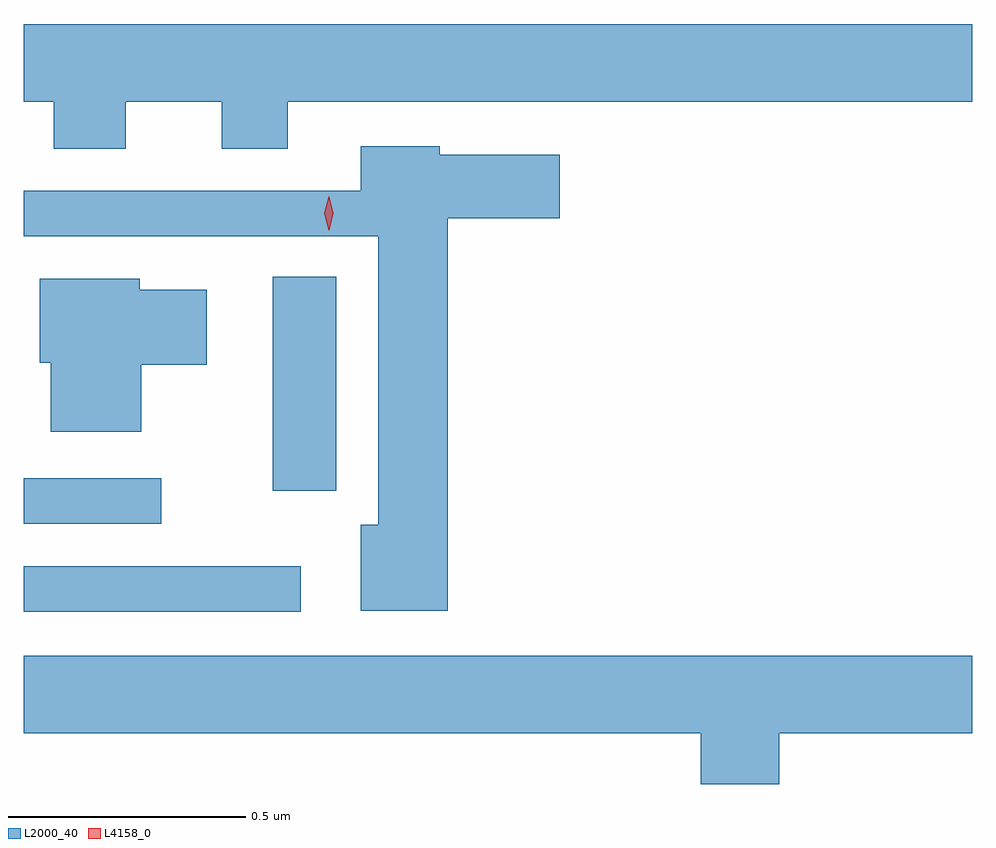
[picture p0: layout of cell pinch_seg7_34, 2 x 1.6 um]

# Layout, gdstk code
import gdstk
lib = gdstk.Library(unit=1e-6, precision=1e-09)
def R(c, l, rs):  # rectangles x0, y0, x1, y1
    for r in rs: c.add(gdstk.rectangle(r[:2], r[2:], *l))
def P(c, l, *ps):  # polygons
    for p in ps: c.add(gdstk.Polygon(p, *l))
L2000_40 = (2000, 40)
L4158_0 = (4158, 0)

pinch_seg7_34 = lib.new_cell('pinch_seg7_34')
R(pinch_seg7_34, L2000_40, [(1059.929,1054.152,1060.513,1054.248), (1059.929,1054.338,1060.219,1054.434), (1060.454,1054.407,1060.588,1054.859)])
P(pinch_seg7_34, L2000_40, [(1060.144,1055.228),(1060.346,1055.228),(1060.346,1055.129),(1060.486,1055.129),(1060.486,1055.228),(1061.929,1055.228),(1061.929,1055.392),(1059.929,1055.392),(1059.929,1055.228),(1059.992,1055.228),(1059.992,1055.129),(1060.144,1055.129)],
  [(1060.823,1054.982),(1061.059,1054.982),(1061.059,1055.116),(1060.806,1055.116),(1060.806,1055.134),(1060.64,1055.134),(1060.64,1055.04),(1059.929,1055.04),(1059.929,1054.944),(1060.676,1054.944),(1060.676,1054.336),(1060.64,1054.336),(1060.64,1054.154),(1060.823,1054.154)],
  [(1060.177,1054.673),(1060.315,1054.673),(1060.315,1054.831),(1060.173,1054.831),(1060.173,1054.855),(1059.962,1054.855),(1059.962,1054.677),(1059.986,1054.677),(1059.986,1054.532),(1060.177,1054.532)],
  [(1061.522,1053.896),(1061.929,1053.896),(1061.929,1054.06),(1059.929,1054.06),(1059.929,1053.896),(1061.357,1053.896),(1061.357,1053.789),(1061.522,1053.789)])
P(pinch_seg7_34, L4158_0, [(1060.572,1054.957),(1060.572,1054.957),(1060.562,1054.993),(1060.572,1055.028),(1060.572,1055.029),(1060.573,1055.028),(1060.582,1054.993),(1060.573,1054.957)])

lib.write_gds('pinch_seg7_34.gds')
